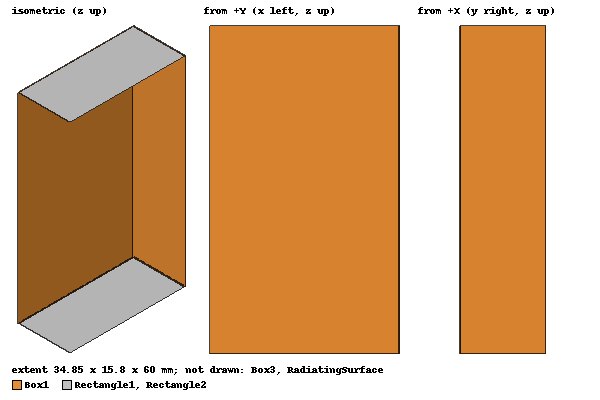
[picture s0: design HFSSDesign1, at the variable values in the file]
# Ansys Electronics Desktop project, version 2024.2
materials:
  vacuum: permittivity=1
  air: permittivity=1.0006 permeability=1.0000004
  copper: permeability=0.999991 conductivity=58000000

design HFSSDesign1 (HFSS, HFSS Terminal Network, model units mm)
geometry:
  Box1 [copper] = box(corner=(0mm, 0mm, 0mm), size=(34.8488mm, 15.7988mm, 60mm))
  Box2 = box(corner=(0.2mm, 0.2mm, 0mm), size=(34.8488-(2*0.2) mm, 15.7988-(2*0.2) mm, 60mm))
  Box3 [air] = box(corner=(0.2mm, 0.2mm, 0mm), size=(34.8488-(2*0.2) mm, 15.7988-(2*0.2) mm, 60mm))
  Box1.subtract(Box2)
  Rectangle1 = rectangle(corner=(0.2mm, 15.5988mm, 60mm), x_size=34.4488mm, y_size=-15.3988mm)
  Rectangle2 = rectangle(corner=(0.2mm, 0.2mm, 0mm), x_size=34.4488mm, y_size=15.3988mm)
  RadiatingSurface [vacuum] = region(absolute_offset: +X=16.666667mm, -X=16.666667mm, +Y=16.666667mm, -Y=16.666667mm, +Z=0mm, -Z=0mm)
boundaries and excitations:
  Open1: Radiation Objects=RadiatingSurface
  1: Wave Port Objects=Rectangle1 WavePortType=Modal NumModes=4 Modes{Mode1{IntLine{(17.4244, 0.2, 60) -> (17.4244, 15.5988, 60)} CharImp=Zpi} Mode2{CharImp=Zpi} Mode3{CharImp=Zpi} Mode4{CharImp=Zpi}}
  2: Wave Port Objects=Rectangle2 WavePortType=Modal NumModes=4 Modes{Mode1{IntLine{(17.4244, 15.5988, 0) -> (17.4244, 0.2, 0)} CharImp=Zpi} Mode2{CharImp=Zpi} Mode3{CharImp=Zpi} Mode4{CharImp=Zpi}}
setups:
  Setup1: HfssDriven Frequency=6GHz MaxDeltaS=0.02 MaximumPasses=6 MinimumPasses=1 MinimumConvergedPasses=1 PercentRefinement=30 BasisOrder=1 PortAccuracy=2 DrivenSolverType="Direct Solver"
    sweep Sweep: 3GHz to 9GHz, 401 points; Type=Interpolating InterpTolerance=0.5 InterpMaxSolns=250 PassivityErrorTolerance=0.0001
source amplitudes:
  1:1: 1W 0deg
  1:2, 1:3, 1:4, 2:1..2:4: 0W 0deg
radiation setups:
  3D: Infinite Sphere Theta=0deg..180deg step 2deg Phi=-180deg..180deg step 2deg
  Elevation: Infinite Sphere Theta=-180deg..180deg step 1deg Phi=0deg..90deg step 90deg
  Azimuth: Infinite Sphere Theta=90deg..90deg step 0deg Phi=-180deg..180deg step 1deg
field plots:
  Mag_E1: E Field in Box3 on Setup1 : LastAdaptive at Freq=6GHz Phase=0deg
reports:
  S Parameter Plot 1: dB(S(1:4,1:1)) vs Freq on Setup1 : Sweep
